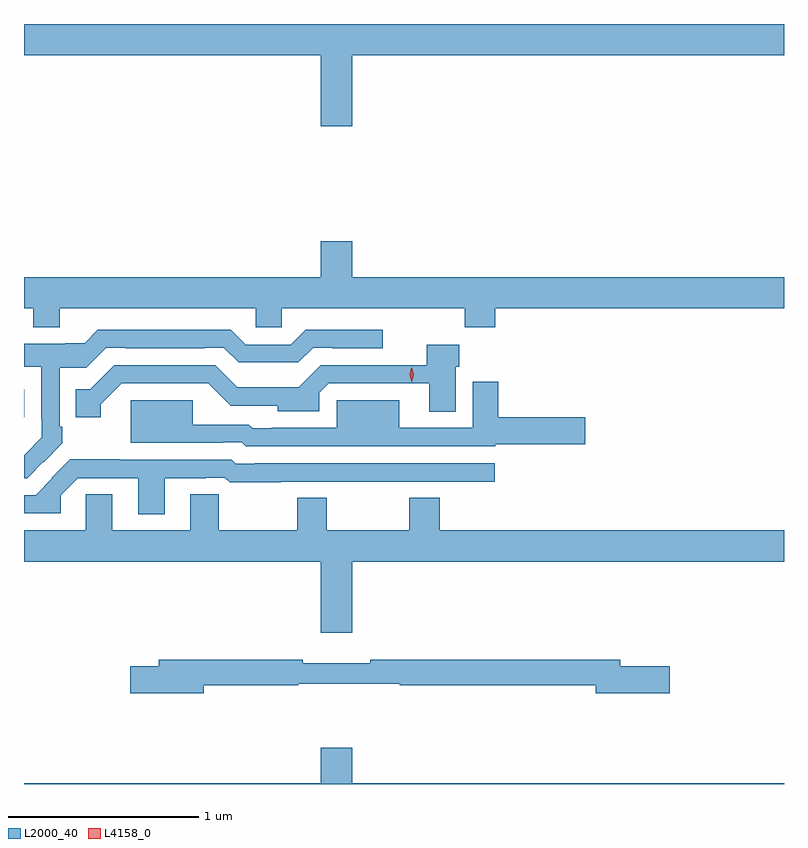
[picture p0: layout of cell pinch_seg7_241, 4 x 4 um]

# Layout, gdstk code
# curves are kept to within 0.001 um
import gdstk
lib = gdstk.Library(unit=1e-6, precision=1e-09)
def R(c, l, rs):  # rectangles x0, y0, x1, y1
    for r in rs: c.add(gdstk.rectangle(r[:2], r[2:], *l))
def P(c, l, *ps):  # polygons
    for p in ps: c.add(gdstk.Polygon(p, *l))
L2000_40 = (2000, 40)
L4158_0 = (4158, 0)

pinch_seg7_241 = lib.new_cell('pinch_seg7_241')
R(pinch_seg7_241, L2000_40, [(822.785,1029.348,822.787,1029.494)])
P(pinch_seg7_241, L2000_40, [(824.512,1031.252),(826.785,1031.252),(826.785,1031.416),(823.699,1031.416),(823.699,1031.417),(823.577,1031.417),(823.577,1031.416),(822.785,1031.416),(822.785,1031.252),(824.348,1031.252),(824.348,1030.878),(824.512,1030.878)],
  [(822.973,1029.92),(824.004,1029.92),(824.004,1029.822),(824.142,1029.822),(824.142,1029.92),(825.106,1029.92),(825.106,1029.821),(825.266,1029.821),(825.266,1029.92),(826.785,1029.92),(826.785,1030.084),(824.512,1030.084),(824.512,1030.273),(824.348,1030.273),(824.348,1030.084),(822.785,1030.084),(822.785,1029.92),(822.833,1029.92),(822.833,1029.821),(822.973,1029.821)],
  [(822.887,1029.112),(822.888,1029.111),(822.987,1029.21),(822.987,1029.298),(822.972,1029.298),(822.972,1029.609),(823.113,1029.609),(823.218,1029.714),(823.318,1029.714),(823.318,1029.711),(823.736,1029.711),(823.736,1029.714),(823.836,1029.714),(823.914,1029.636),(824.229,1029.636),(824.307,1029.714),(824.407,1029.714),(824.407,1029.711),(824.674,1029.711),(824.674,1029.808),(824.269,1029.808),(824.19,1029.729),(823.953,1029.729),(823.874,1029.808),(823.174,1029.808),(823.104,1029.738),(823.001,1029.738),(823.001,1029.733),(822.785,1029.733),(822.785,1029.612),(822.876,1029.612),(822.876,1029.34),(822.879,1029.34),(822.879,1029.241),(822.785,1029.147),(822.785,1029.027),(822.802,1029.027)],
  [(823.189,1029.415),(823.299,1029.525),(823.755,1029.525),(823.872,1029.408),(824.121,1029.408),(824.121,1029.38),(824.34,1029.38),(824.34,1029.477),(824.388,1029.525),(824.918,1029.525),(824.918,1029.376),(825.058,1029.376),(825.058,1029.612),(825.077,1029.612),(825.077,1029.73),(824.906,1029.73),(824.906,1029.621),(824.348,1029.621),(824.232,1029.505),(823.907,1029.505),(823.791,1029.621),(823.259,1029.621),(823.133,1029.495),(823.057,1029.495),(823.057,1029.348),(823.189,1029.348)],
  [(825.264,1029.205),(825.739,1029.205),(825.739,1029.347),(825.281,1029.347),(825.281,1029.535),(825.146,1029.535),(825.146,1029.291),(824.761,1029.291),(824.761,1029.436),(824.43,1029.436),(824.43,1029.291),(824.089,1029.291),(824.089,1029.289),(823.988,1029.289),(823.968,1029.309),(823.672,1029.309),(823.672,1029.436),(823.346,1029.436),(823.346,1029.212),(823.832,1029.213),(823.832,1029.216),(823.932,1029.216),(823.953,1029.195),(825.264,1029.195)],
  [(823.525,1029.027),(823.742,1029.027),(823.742,1029.03),(823.842,1029.03),(823.868,1029.004),(824.135,1029.004),(824.135,1029.009),(824.467,1029.009),(824.467,1029.007),(824.723,1029.007),(824.723,1029.009),(825.262,1029.009),(825.262,1029.105),(823.999,1029.105),(823.999,1029.102),(823.899,1029.102),(823.878,1029.123),(823.289,1029.123),(823.289,1029.126),(823.029,1029.126),(822.931,1029.028),(822.934,1029.025),(822.846,1028.937),(822.785,1028.937),(822.785,1028.841),(822.978,1028.841),(822.978,1028.937),(823.068,1029.027),(823.385,1029.027),(823.385,1028.838),(823.525,1028.838)],
  [(824.512,1028.588),(826.785,1028.588),(826.785,1028.752),(824.972,1028.752),(824.972,1028.924),(824.812,1028.924),(824.812,1028.752),(824.379,1028.752),(824.379,1028.924),(824.224,1028.924),(824.224,1028.752),(823.809,1028.752),(823.809,1028.942),(823.661,1028.942),(823.661,1028.752),(823.249,1028.752),(823.249,1028.942),(823.11,1028.942),(823.11,1028.752),(822.785,1028.752),(822.785,1028.588),(824.348,1028.588),(824.348,1028.214),(824.512,1028.214)],
  [(823.732,1027.936),(824.228,1027.936),(824.228,1027.944),(824.763,1027.944),(824.763,1027.936),(825.794,1027.936),(825.794,1027.894),(826.183,1027.894),(826.183,1028.036),(825.922,1028.036),(825.922,1028.072),(824.608,1028.072),(824.608,1028.053),(824.252,1028.053),(824.252,1028.072),(823.493,1028.072),(823.493,1028.036),(823.344,1028.036),(823.344,1027.894),(823.732,1027.894)],
  [(826.785,1027.42),(824.512,1027.42),(824.512,1027.609),(824.348,1027.609),(824.348,1027.42),(822.785,1027.42),(822.785,1027.417),(826.785,1027.417)])
P(pinch_seg7_241, L4158_0, [(824.825,1029.535),(824.815,1029.571),(824.824,1029.607),(824.825,1029.607),(824.825,1029.607),(824.835,1029.571),(824.826,1029.535),(824.826,1029.535)])

lib.write_gds('pinch_seg7_241.gds')
